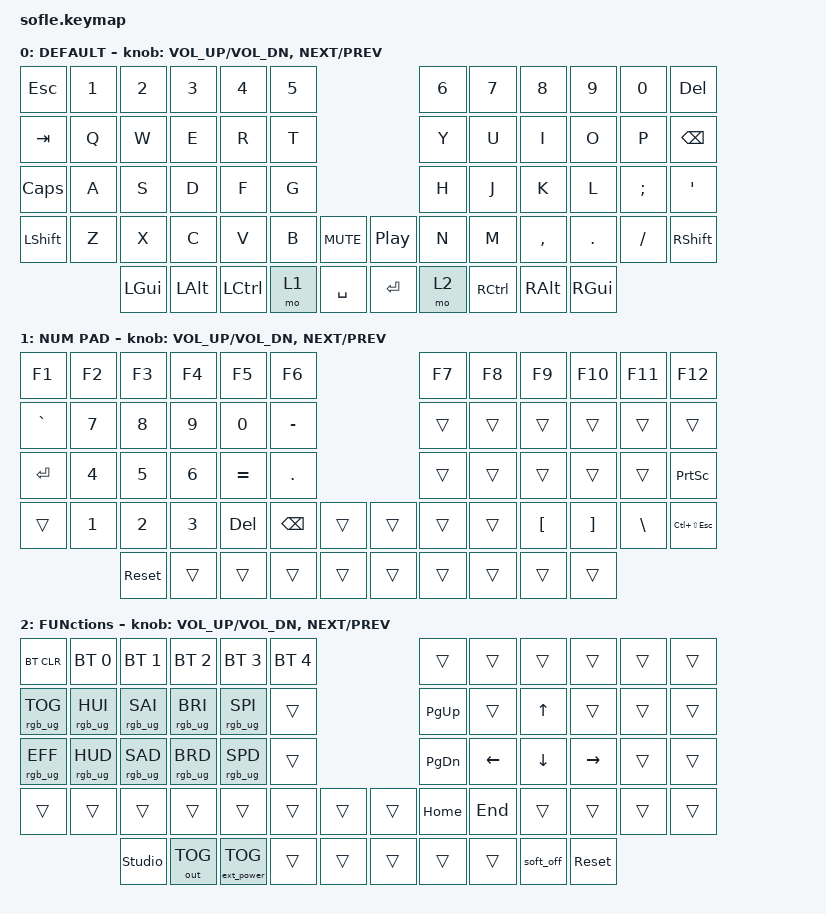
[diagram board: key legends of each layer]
/*
 * Copyright (c) 2020 The ZMK Contributors
 *
 * SPDX-License-Identifier: MIT
 */

#include <behaviors.dtsi>
#include <dt-bindings/zmk/keys.h>
#include <dt-bindings/zmk/bt.h>
#include <dt-bindings/zmk/rgb.h>
#include <dt-bindings/zmk/ext_power.h>
#include <dt-bindings/zmk/outputs.h>


#define BASE 0
#define LOWER 1
#define RAISE 2


&soft_off {
    hold-time-ms = <2000>; // Only turn off it the key is held for 2 seconds or longer.
};


/ {
    sensors {
        compatible = "zmk,keymap-sensors";
        sensors = <&left_encoder &right_encoder>;
        triggers-per-rotation = <20>;
    };

    keymap {
        compatible = "zmk,keymap";

        default_layer {
            display-name = "DEFAULT";
// ------------------------------------------------------------------------------------------------------------
// |  ESC  |  1  |  2  |  3   |  4   |  5   |                   |  6   |  7    |  8    |  9   |   0   |   DEL |
// |  TAB  |  Q  |  W  |  E   |  R   |  T   |                   |  Y   |  U    |  I    |  O   |   P   | BKSPC |
// |  CAPS |  A  |  S  |  D   |  F   |  G   |                   |  H   |  J    |  K    |  L   |   ;   |   '   |
// | SHIFT |  Z  |  X  |  C   |  V   |  B   |  MUTE  |  | PAUSE |  N   |  M    |  ,    |  .   |   /   | SHIFT |
//               | WIN | ALT  | CTRL | LOWER|  Space |  | Enter | RAISE| CTRL  | ALT   | WIN  |
            bindings = <
&kp ESC   &kp N1 &kp N2   &kp N3   &kp N4    &kp N5                      &kp N6 &kp N7    &kp N8    &kp N9   &kp N0   &kp DEL
&kp TAB   &kp Q  &kp W    &kp E    &kp R     &kp T                       &kp Y  &kp U     &kp I     &kp O    &kp P    &kp BSPC
&kp CLCK  &kp A  &kp S    &kp D    &kp F     &kp G                       &kp H  &kp J     &kp K     &kp L    &kp SEMI &kp SQT
&kp LSHFT &kp Z  &kp X    &kp C    &kp V     &kp B  &kp C_MUTE &kp C_PP  &kp N  &kp M     &kp COMMA &kp DOT  &kp FSLH &kp RSHFT
                 &kp LGUI &kp LALT &kp LCTRL &mo 1  &kp SPACE  &kp RET   &mo 2  &kp RCTRL &kp RALT  &kp RGUI
            >;

            sensor-bindings = <&inc_dec_kp C_VOL_UP C_VOL_DN &inc_dec_kp C_NEXT C_PREV>;
        };

        lower_layer {
            display-name = "NUM PAD";
// TODO: Some binds are waiting for shifted keycode support.
// ------------------------------------------------------------------------------------------------------------
// |   F1  |  F2 |  F3 |  F4  |  F5  |  F6  |                   |  F7  |  F8   |  F9   |  F10 |  F11  |  F12  |
// |   `   |   7 |   8 |   9  |  0   |  -   |                   |      |       |       |      |       |       |
// | Enter |  4  |  5  |  6   |  =   |  .   |                   |      |       |       |      |       |PSCRN  |
// |       |  1  |  2  |  3   | DEL  | BKSPC|        |  |       |      |       |   [   |   ]  |   \   |TSKMNG |
//               |RST  |      |      |      |        |  |       |      |       |       |      |
            bindings = <
&kp F1     &kp F2  &kp F3  &kp F4  &kp F5    &kp F6                    &kp F7    &kp F8   &kp F9   &kp F10   &kp F11   &kp F12
&kp GRAVE  &kp N7  &kp N8  &kp N9  &kp N0    &kp MINUS                 &trans    &trans   &trans   &trans    &trans    &trans
&kp RET    &kp N4  &kp N5  &kp N6  &kp EQUAL &kp DOT                   &trans    &trans   &trans   &trans    &trans    &kp PSCRN
&trans     &kp N1  &kp N2  &kp N3  &kp DEL   &kp BSPC  &trans   &trans &trans    &trans   &kp LBKT &kp RBKT  &kp BSLH  &kp LC(LS(ESC))
                   &sys_reset  &trans  &trans    &trans    &trans   &trans &trans    &trans   &trans   &trans
            >;

            sensor-bindings = <&inc_dec_kp C_VOL_UP C_VOL_DN &inc_dec_kp C_NEXT C_PREV>;
        };

        raise_layer {
            display-name = "FUNctions";
// ------------------------------------------------------------------------------------------------------------
// | BTCLR |  BT1  |  BT2  |  BT3  |  BT4  |  BT5 |                |      |      |       |      |       |       |
// |RGB TOG|RGB HUI|RGB SAI|RGB BRI|RGB SPI|      |                | PGUP |      |   ^   |      |       |       |
// |RGB EFF|RGB HUD|RGB SAD|RGB BRD|RGB SPD|      |                | PGDN |   <- |   v   |  ->  |       |       |
// |       |       |       |       |       |      |      |  |      | HOME |  END |       |      |       |       |
//                 |ZMK Stu|OUT TOG|EXT PWR|      |      |  |      |      |      |SFT OFF|  RST |
            bindings = <
&bt BT_CLR      &bt BT_SEL 0    &bt BT_SEL 1    &bt BT_SEL 2    &bt BT_SEL 3      &bt BT_SEL 4               &trans    &trans    &trans    &trans    &trans  &trans
&rgb_ug RGB_TOG &rgb_ug RGB_HUI &rgb_ug RGB_SAI &rgb_ug RGB_BRI &rgb_ug RGB_SPI   &trans                     &kp PG_UP &trans    &kp UP    &trans    &trans  &trans
&rgb_ug RGB_EFF &rgb_ug RGB_HUD &rgb_ug RGB_SAD &rgb_ug RGB_BRD &rgb_ug RGB_SPD   &trans                     &kp PG_DN &kp LEFT  &kp DOWN  &kp RIGHT &trans  &trans
&trans          &trans          &trans          &trans          &trans            &trans   &trans  &trans    &kp HOME  &kp END   &trans    &trans    &trans  &trans
                                &studio_unlock  &out OUT_TOG    &ext_power EP_TOG &trans   &trans  &trans    &trans    &trans    &soft_off &sys_reset
            >;

            sensor-bindings = <&inc_dec_kp C_VOL_UP C_VOL_DN &inc_dec_kp C_NEXT C_PREV>;
        };

        extra1 {
            status = "reserved";
        };

        extra2 {
            status = "reserved";
        };

    };
};
